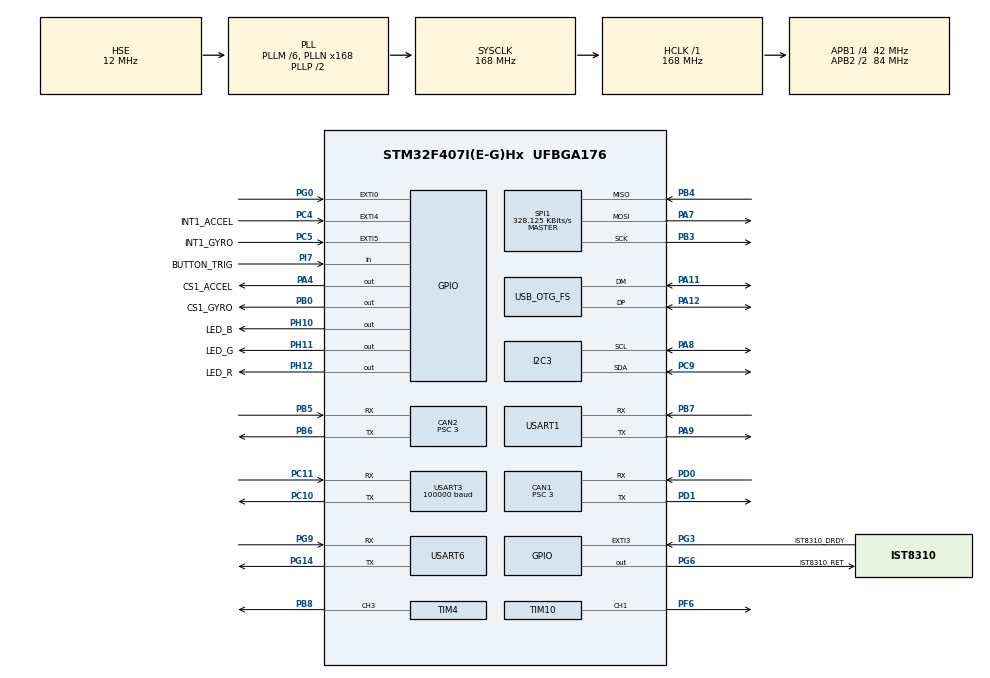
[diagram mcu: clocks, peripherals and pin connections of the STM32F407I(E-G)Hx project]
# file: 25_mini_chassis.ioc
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CAN1.BS1=CAN_BS1_10TQ
CAN1.BS2=CAN_BS2_3TQ
CAN1.CalculateBaudRate=1000000
CAN1.CalculateTimeBit=1000
CAN1.CalculateTimeQuantum=71.42857142857143
CAN1.Prescaler=3
CAN2.BS1=CAN_BS1_10TQ
CAN2.BS2=CAN_BS2_3TQ
CAN2.CalculateBaudRate=1000000
CAN2.CalculateTimeBit=1000
CAN2.CalculateTimeQuantum=71.42857142857143
CAN2.Prescaler=3
Dma.Request0=USART1_TX
Dma.Request1=USART3_RX
Dma.Request2=USART6_TX
Dma.Request3=USART6_RX
Dma.Request4=SPI1_RX
Dma.Request5=SPI1_TX
Dma.SPI1_RX.4.Direction=DMA_PERIPH_TO_MEMORY
Dma.SPI1_RX.4.FIFOMode=DMA_FIFOMODE_DISABLE
Dma.SPI1_RX.4.Instance=DMA2_Stream2
Dma.SPI1_RX.4.MemDataAlignment=DMA_MDATAALIGN_BYTE
Dma.SPI1_RX.4.MemInc=DMA_MINC_ENABLE
Dma.SPI1_RX.4.Mode=DMA_NORMAL
Dma.SPI1_RX.4.PeriphDataAlignment=DMA_PDATAALIGN_BYTE
Dma.SPI1_RX.4.PeriphInc=DMA_PINC_DISABLE
Dma.SPI1_RX.4.Priority=DMA_PRIORITY_VERY_HIGH
Dma.SPI1_TX.5.Direction=DMA_MEMORY_TO_PERIPH
Dma.SPI1_TX.5.FIFOMode=DMA_FIFOMODE_DISABLE
Dma.SPI1_TX.5.Instance=DMA2_Stream3
Dma.SPI1_TX.5.MemDataAlignment=DMA_MDATAALIGN_BYTE
Dma.SPI1_TX.5.MemInc=DMA_MINC_ENABLE
Dma.SPI1_TX.5.Mode=DMA_NORMAL
Dma.SPI1_TX.5.PeriphDataAlignment=DMA_PDATAALIGN_BYTE
Dma.SPI1_TX.5.PeriphInc=DMA_PINC_DISABLE
Dma.SPI1_TX.5.Priority=DMA_PRIORITY_HIGH
Dma.USART1_TX.0.Direction=DMA_MEMORY_TO_PERIPH
Dma.USART1_TX.0.FIFOMode=DMA_FIFOMODE_DISABLE
Dma.USART1_TX.0.Instance=DMA2_Stream7
Dma.USART1_TX.0.MemDataAlignment=DMA_MDATAALIGN_BYTE
Dma.USART1_TX.0.MemInc=DMA_MINC_ENABLE
Dma.USART1_TX.0.Mode=DMA_NORMAL
Dma.USART1_TX.0.PeriphDataAlignment=DMA_PDATAALIGN_BYTE
Dma.USART1_TX.0.PeriphInc=DMA_PINC_DISABLE
Dma.USART1_TX.0.Priority=DMA_PRIORITY_VERY_HIGH
Dma.USART3_RX.1.Direction=DMA_PERIPH_TO_MEMORY
Dma.USART3_RX.1.FIFOMode=DMA_FIFOMODE_DISABLE
Dma.USART3_RX.1.Instance=DMA1_Stream1
Dma.USART3_RX.1.MemDataAlignment=DMA_MDATAALIGN_BYTE
Dma.USART3_RX.1.MemInc=DMA_MINC_ENABLE
Dma.USART3_RX.1.Mode=DMA_CIRCULAR
Dma.USART3_RX.1.PeriphDataAlignment=DMA_PDATAALIGN_BYTE
Dma.USART3_RX.1.PeriphInc=DMA_PINC_DISABLE
Dma.USART3_RX.1.Priority=DMA_PRIORITY_LOW
Dma.USART6_RX.3.Direction=DMA_PERIPH_TO_MEMORY
Dma.USART6_RX.3.FIFOMode=DMA_FIFOMODE_DISABLE
Dma.USART6_RX.3.Instance=DMA2_Stream1
Dma.USART6_RX.3.MemDataAlignment=DMA_MDATAALIGN_BYTE
Dma.USART6_RX.3.MemInc=DMA_MINC_ENABLE
Dma.USART6_RX.3.Mode=DMA_NORMAL
Dma.USART6_RX.3.PeriphDataAlignment=DMA_PDATAALIGN_BYTE
Dma.USART6_RX.3.PeriphInc=DMA_PINC_DISABLE
Dma.USART6_RX.3.Priority=DMA_PRIORITY_VERY_HIGH
Dma.USART6_TX.2.Direction=DMA_MEMORY_TO_PERIPH
Dma.USART6_TX.2.FIFOMode=DMA_FIFOMODE_DISABLE
Dma.USART6_TX.2.Instance=DMA2_Stream6
Dma.USART6_TX.2.MemDataAlignment=DMA_MDATAALIGN_BYTE
Dma.USART6_TX.2.MemInc=DMA_MINC_ENABLE
Dma.USART6_TX.2.Mode=DMA_NORMAL
Dma.USART6_TX.2.PeriphDataAlignment=DMA_PDATAALIGN_BYTE
Dma.USART6_TX.2.PeriphInc=DMA_PINC_DISABLE
Dma.USART6_TX.2.Priority=DMA_PRIORITY_MEDIUM
FREERTOS.INCLUDE_eTaskGetState=1
FREERTOS.INCLUDE_pcTaskGetTaskName=1
FREERTOS.INCLUDE_uxTaskGetStackHighWaterMark=1
FREERTOS.INCLUDE_uxTaskGetStackHighWaterMark2=1
FREERTOS.INCLUDE_vTaskCleanUpResources=1
FREERTOS.INCLUDE_vTaskDelayUntil=1
FREERTOS.INCLUDE_xQueueGetMutexHolder=1
FREERTOS.INCLUDE_xSemaphoreGetMutexHolder=1
FREERTOS.INCLUDE_xTaskAbortDelay=1
FREERTOS.INCLUDE_xTaskGetCurrentTaskHandle=1
FREERTOS.INCLUDE_xTaskGetHandle=1
FREERTOS.Tasks01=crg_test_task,16,512,Crg_test_Task,As weak,NULL,Static,crg_test_taskBuffer,crg_test_taskControlBlock;imu_task,40,1024,Imu_Task,As weak,NULL,Static,imu_taskBuffer,imu_taskControlBlock;gimbal_task,24,1024,Gimbal_Task,As weak,NULL,Static,gimbal_taskBuffer,gimbal_taskControlBlock;shoot_task,24,512,Shoot_Task,As weak,NULL,Static,shoot_taskBuffer,shoot_taskControlBlock;chassis_task,32,1024,Chassis_Task,As weak,NULL,Static,chassis_taskBuffer,chassis_taskControlBlock;referee_usart_t,24,512,Referee_Usart_Task,As weak,NULL,Static,referee_usart_tBuffer,referee_usart_tControlBlock;ui_task,16,512,Ui_Task,As weak,NULL,Static,ui_taskBuffer,ui_taskControlBlock;debug_task,16,512,Crg_test_Task,As weak,NULL,Static,debug_taskBuffer,debug_taskControlBlock
FREERTOS.configTOTAL_HEAP_SIZE=24576
FREERTOS.configCHECK_FOR_STACK_OVERFLOW=2
FREERTOS.configUSE_TIMERS=1
I2C3.I2C_Mode=I2C_Fast
Mcu.Family=STM32F4
Mcu.Name=STM32F407I(E-G)Hx
Mcu.Package=UFBGA176
NVIC.CAN1_RX0_IRQn=true\:5\:0\:false\:false\:true\:true\:true\:true\:true
NVIC.CAN2_RX0_IRQn=true\:5\:0\:false\:false\:true\:true\:true\:true\:true
NVIC.DMA1_Stream1_IRQn=true\:5\:0\:false\:false\:true\:true\:false\:true\:true
NVIC.DMA2_Stream1_IRQn=true\:5\:0\:false\:false\:true\:true\:false\:true\:true
NVIC.DMA2_Stream2_IRQn=true\:5\:0\:false\:false\:true\:false\:false\:true\:true
NVIC.DMA2_Stream3_IRQn=true\:5\:0\:false\:false\:true\:true\:false\:true\:true
NVIC.DMA2_Stream6_IRQn=true\:5\:0\:false\:false\:true\:true\:false\:true\:true
NVIC.DMA2_Stream7_IRQn=true\:5\:0\:false\:false\:true\:true\:false\:true\:true
NVIC.EXTI0_IRQn=true\:6\:0\:true\:false\:true\:true\:true\:true\:true
NVIC.EXTI3_IRQn=true\:5\:0\:false\:false\:true\:true\:true\:true\:true
NVIC.EXTI4_IRQn=true\:5\:0\:false\:false\:true\:true\:true\:true\:true
NVIC.EXTI9_5_IRQn=true\:5\:0\:true\:false\:true\:true\:true\:true\:true
NVIC.OTG_FS_IRQn=true\:5\:0\:false\:false\:true\:true\:false\:true\:true
NVIC.PriorityGroup=NVIC_PRIORITYGROUP_4
NVIC.SPI1_IRQn=true\:5\:0\:false\:false\:true\:true\:true\:true\:true
NVIC.TIM2_IRQn=true\:15\:0\:false\:false\:true\:false\:false\:true\:true
NVIC.TimeBase=TIM2_IRQn
NVIC.TimeBaseIP=TIM2
NVIC.USART3_IRQn=true\:5\:0\:false\:false\:true\:true\:true\:true\:true
NVIC.USART6_IRQn=true\:5\:0\:false\:false\:true\:true\:true\:true\:true
PA11.Mode=Device_Only
PA11.Signal=USB_OTG_FS_DM
PA12.Mode=Device_Only
PA12.Signal=USB_OTG_FS_DP
PA13.Mode=Serial_Wire
PA13.Signal=SYS_JTMS-SWDIO
PA14.Mode=Serial_Wire
PA14.Signal=SYS_JTCK-SWCLK
PA4.GPIO_Label=CS1_ACCEL
PA4.GPIO_PuPd=GPIO_PULLUP
PA4.GPIO_Speed=GPIO_SPEED_FREQ_HIGH
PA4.PinState=GPIO_PIN_SET
PA4.Signal=GPIO_Output
PA7.GPIO_PuPd=GPIO_PULLUP
PA7.Mode=Full_Duplex_Master
PA7.Signal=SPI1_MOSI
PA8.GPIO_Pu=GPIO_PULLUP
PA8.Mode=I2C
PA8.Signal=I2C3_SCL
PA9.Mode=Asynchronous
PA9.Signal=USART1_TX
PB0.GPIO_Label=CS1_GYRO
PB0.GPIO_PuPd=GPIO_PULLUP
PB0.GPIO_Speed=GPIO_SPEED_FREQ_HIGH
PB0.PinState=GPIO_PIN_SET
PB0.Signal=GPIO_Output
PB3.GPIO_PuPd=GPIO_PULLUP
PB3.Mode=Full_Duplex_Master
PB3.Signal=SPI1_SCK
PB4.GPIO_PuPd=GPIO_PULLUP
PB4.Mode=Full_Duplex_Master
PB4.Signal=SPI1_MISO
PB5.Mode=CAN_Activate
PB5.Signal=CAN2_RX
PB6.Mode=CAN_Activate
PB6.Signal=CAN2_TX
PB7.Mode=Asynchronous
PB7.Signal=USART1_RX
PB8.Signal=S_TIM4_CH3
PC10.Mode=Asynchronous
PC10.Signal=USART3_TX
PC11.Mode=Asynchronous
PC11.Signal=USART3_RX
PC14-OSC32_IN.Mode=LSE-External-Oscillator
PC14-OSC32_IN.Signal=RCC_OSC32_IN
PC15-OSC32_OUT.Mode=LSE-External-Oscillator
PC15-OSC32_OUT.Signal=RCC_OSC32_OUT
PC4.GPIO_Label=INT1_ACCEL
PC4.GPIO_PuPd=GPIO_PULLUP
PC4.Signal=GPXTI4
PC5.GPIO_Label=INT1_GYRO
PC5.GPIO_PuPd=GPIO_PULLUP
PC5.Signal=GPXTI5
PC9.GPIO_Pu=GPIO_PULLUP
PC9.Mode=I2C
PC9.Signal=I2C3_SDA
PD0.Mode=CAN_Activate
PD0.Signal=CAN1_RX
PD1.Mode=CAN_Activate
PD1.Signal=CAN1_TX
PF6.GPIO_PuPd=GPIO_PULLUP
PF6.GPIO_Speed=GPIO_SPEED_FREQ_HIGH
PF6.Signal=S_TIM10_CH1
PG0.GPIO_PuPd=GPIO_PULLUP
PG0.Signal=GPXTI0
PG14.Mode=Asynchronous
PG14.Signal=USART6_TX
PG3.GPIO_Label=IST8310_DRDY
PG3.GPIO_PuPd=GPIO_PULLUP
PG3.Signal=GPXTI3
PG6.GPIO_Label=IST8310_RET
PG6.GPIO_ModeDefaultOutputPP=GPIO_MODE_OUTPUT_PP
PG6.GPIO_PuPd=GPIO_PULLUP
PG6.GPIO_Speed=GPIO_SPEED_FREQ_MEDIUM
PG6.PinState=GPIO_PIN_SET
PG6.Signal=GPIO_Output
PG9.Mode=Asynchronous
PG9.Signal=USART6_RX
PH0-OSC_IN.Mode=HSE-External-Oscillator
PH0-OSC_IN.Signal=RCC_OSC_IN
PH1-OSC_OUT.Mode=HSE-External-Oscillator
PH1-OSC_OUT.Signal=RCC_OSC_OUT
PH10.GPIO_Label=LED_B
PH10.GPIO_PuPd=GPIO_PULLUP
PH10.GPIO_Speed=GPIO_SPEED_FREQ_LOW
PH10.Signal=GPIO_Output
PH11.GPIO_Label=LED_G
PH11.GPIO_PuPd=GPIO_NOPULL
PH11.GPIO_Speed=GPIO_SPEED_FREQ_LOW
PH11.Signal=GPIO_Output
PH12.GPIO_Label=LED_R
PH12.Signal=GPIO_Output
PI7.GPIO_Label=BUTTON_TRIG
PI7.GPIO_PuPd=GPIO_PULLUP
PI7.Signal=GPIO_Input
ProjectManager.HeapSize=0x200
ProjectManager.StackSize=0x400
ProjectManager.TargetToolchain=MDK-ARM V5.32
RCC.48MHZClocksFreq_Value=48000000
RCC.AHBFreq_Value=168000000
RCC.APB1CLKDivider=RCC_HCLK_DIV4
RCC.APB1Freq_Value=42000000
RCC.APB1TimFreq_Value=84000000
RCC.APB2CLKDivider=RCC_HCLK_DIV2
RCC.APB2Freq_Value=84000000
RCC.APB2TimFreq_Value=168000000
RCC.CortexFreq_Value=168000000
RCC.HCLKFreq_Value=168000000
RCC.HSE_VALUE=12000000
RCC.HSI_VALUE=16000000
RCC.PLLM=6
RCC.PLLN=168
RCC.PLLQ=7
RCC.SYSCLKFreq_VALUE=168000000
RCC.SYSCLKSource=RCC_SYSCLKSOURCE_PLLCLK
RCC.VCOOutputFreq_Value=336000000
SH.S_TIM10_CH1.0=TIM10_CH1,PWM Generation1 CH1
SH.S_TIM4_CH3.0=TIM4_CH3,Output Compare3 CH3
SPI1.BaudRatePrescaler=SPI_BAUDRATEPRESCALER_256
SPI1.CLKPhase=SPI_PHASE_2EDGE
SPI1.CLKPolarity=SPI_POLARITY_HIGH
SPI1.CalculateBaudRate=328.125 KBits/s
SPI1.Direction=SPI_DIRECTION_2LINES
SPI1.Mode=SPI_MODE_MASTER
SPI1.VirtualType=VM_MASTER
STMicroelectronics.X-CUBE-ALGOBUILD.1.3.0.LibraryCcDSPOoLibraryJjDSPOoLibrary=true
TIM10.Channel=TIM_CHANNEL_1
TIM10.Period=4999
TIM4.Channel-Output\ Compare3\ CH3=TIM_CHANNEL_3
TIM4.Period=20999
USART1.VirtualMode=VM_ASYNC
USART3.BaudRate=100000
USART3.Parity=PARITY_EVEN
USART3.VirtualMode=VM_ASYNC
USART6.VirtualMode=VM_ASYNC
USB_DEVICE.CLASS_NAME_FS=CDC
USB_DEVICE.VirtualMode-CDC_FS=Cdc
USB_DEVICE.VirtualModeFS=Cdc_FS
USB_OTG_FS.VirtualMode=Device_Only
VP_FREERTOS_VS_CMSIS_V2.Mode=CMSIS_V2
VP_STMicroelectronics.X-CUBE-ALGOBUILD_VS_DSPOoLibraryJjLibrary_1.3.0_1.3.0.Mode=DSPOoLibraryJjLibrary
VP_SYS_VS_tim2.Mode=TIM2
VP_TIM10_VS_ClockSourceINT.Mode=Enable_Timer
VP_TIM4_VS_ClockSourceINT.Mode=Internal
VP_USB_DEVICE_VS_USB_DEVICE_CDC_FS.Mode=CDC_FS
board=custom

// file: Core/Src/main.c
/* USER CODE BEGIN Header */
/**
  ******************************************************************************
  * @file           : main.c
  * @brief          : Main program body
  ******************************************************************************
  * @attention
  *
  * Copyright (c) 2024 STMicroelectronics.
  * All rights reserved.
  *
  * This software is licensed under terms that can be found in the LICENSE file
  * in the root directory of this software component.
  * If no LICENSE file comes with this software, it is provided AS-IS.
  *
  ******************************************************************************
  */
/* USER CODE END Header */
#include "main.h"
#include "cmsis_os.h"
#include "can.h"
#include "dma.h"
#include "i2c.h"
#include "spi.h"
#include "tim.h"
#include "usart.h"
#include "usb_device.h"
#include "gpio.h"

/* USER CODE BEGIN Includes */
#include "can_init.h"
#include "dt7_remote_read.h"
/* USER CODE END Includes */

void SystemClock_Config(void);
void MX_FREERTOS_Init(void);
/* USER CODE BEGIN PFP */
void MX_USB_DEVICE_Init(void);
/* USER CODE END PFP */

int main(void)
{

  /* MCU Configuration--------------------------------------------------------*/

  /* Reset of all peripherals, Initializes the Flash interface and the Systick. */
  HAL_Init();

  /* Configure the system clock */
  SystemClock_Config();

  /* Initialize all configured peripherals */
  MX_GPIO_Init();
  MX_DMA_Init();
  MX_CAN1_Init();
  MX_CAN2_Init();
  MX_USART1_UART_Init();
  MX_USART3_UART_Init();
  MX_TIM10_Init();
  MX_I2C3_Init();
  MX_SPI1_Init();
  MX_TIM4_Init();
  MX_USART6_UART_Init();
  /* USER CODE BEGIN 2 */
  dt7_remote_read_init();
  can_filter_init();
  MX_USB_DEVICE_Init();
  /* USER CODE END 2 */

  /* Init scheduler */
  osKernelInitialize();  /* Call init function for freertos objects (in cmsis_os2.c) */
  MX_FREERTOS_Init();

  /* Start scheduler */
  osKernelStart();

  /* We should never get here as control is now taken by the scheduler */

  /* Infinite loop */
  while (1)
  {

  }
}

void SystemClock_Config(void)
{
  RCC_OscInitTypeDef RCC_OscInitStruct = {0};
  RCC_ClkInitTypeDef RCC_ClkInitStruct = {0};

  /** Configure the main internal regulator output voltage
  */
  __HAL_RCC_PWR_CLK_ENABLE();
  __HAL_PWR_VOLTAGESCALING_CONFIG(PWR_REGULATOR_VOLTAGE_SCALE1);

  /** Initializes the RCC Oscillators according to the specified parameters
  * in the RCC_OscInitTypeDef structure.
  */
  RCC_OscInitStruct.OscillatorType = RCC_OSCILLATORTYPE_HSE;
  RCC_OscInitStruct.HSEState = RCC_HSE_ON;
  RCC_OscInitStruct.PLL.PLLState = RCC_PLL_ON;
  RCC_OscInitStruct.PLL.PLLSource = RCC_PLLSOURCE_HSE;
  RCC_OscInitStruct.PLL.PLLM = 6;
  RCC_OscInitStruct.PLL.PLLN = 168;
  RCC_OscInitStruct.PLL.PLLP = RCC_PLLP_DIV2;
  RCC_OscInitStruct.PLL.PLLQ = 7;
  if (HAL_RCC_OscConfig(&RCC_OscInitStruct) != HAL_OK)
  {
    Error_Handler();
  }

  /** Initializes the CPU, AHB and APB buses clocks
  */
  RCC_ClkInitStruct.ClockType = RCC_CLOCKTYPE_HCLK|RCC_CLOCKTYPE_SYSCLK
                              |RCC_CLOCKTYPE_PCLK1|RCC_CLOCKTYPE_PCLK2;
  RCC_ClkInitStruct.SYSCLKSource = RCC_SYSCLKSOURCE_PLLCLK;
  RCC_ClkInitStruct.AHBCLKDivider = RCC_SYSCLK_DIV1;
  RCC_ClkInitStruct.APB1CLKDivider = RCC_HCLK_DIV4;
  RCC_ClkInitStruct.APB2CLKDivider = RCC_HCLK_DIV2;

  if (HAL_RCC_ClockConfig(&RCC_ClkInitStruct, FLASH_LATENCY_5) != HAL_OK)
  {
    Error_Handler();
  }
}

void HAL_TIM_PeriodElapsedCallback(TIM_HandleTypeDef *htim)
{
  if (htim->Instance == TIM2)
  {
    HAL_IncTick();
  }
}

void Error_Handler(void)
{
  __disable_irq();
  while (1)
  {
  }
}

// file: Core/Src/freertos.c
/* USER CODE BEGIN Header */
/**
  ******************************************************************************
  * File Name          : freertos.c
  * Description        : Code for freertos applications
  ******************************************************************************
  * @attention
  *
  * Copyright (c) 2024 STMicroelectronics.
  * All rights reserved.
  *
  * This software is licensed under terms that can be found in the LICENSE file
  * in the root directory of this software component.
  * If no LICENSE file comes with this software, it is provided AS-IS.
  *
  ******************************************************************************
  */
/* USER CODE END Header */

#include "FreeRTOS.h"
#include "task.h"
#include "main.h"
#include "cmsis_os.h"

/* USER CODE BEGIN Includes */
#include <string.h>
/* USER CODE END Includes */

typedef StaticTask_t osStaticThreadDef_t;

/* USER CODE BEGIN Variables */
/* 栈高水位（单位 words，剩余量，越小越危险）
 * [0] crg [1] imu [2] gimbal [3] shoot [4] chassis [5] referee [6] ui [7] debug */
volatile uint16_t chassis_task_stack_high_water_word[8];
volatile uint8_t chassis_task_stack_overflow_flag = 0U;
volatile char chassis_task_stack_overflow_name[configMAX_TASK_NAME_LEN];
/* USER CODE END Variables */
/* Definitions for crg_test_task */
osThreadId_t crg_test_taskHandle;
uint32_t crg_test_taskBuffer[ 512 ];
osStaticThreadDef_t crg_test_taskControlBlock;
const osThreadAttr_t crg_test_task_attributes = {
  .name = "crg_test_task",
  .cb_mem = &crg_test_taskControlBlock,
  .cb_size = sizeof(crg_test_taskControlBlock),
  .stack_mem = &crg_test_taskBuffer[0],
  .stack_size = sizeof(crg_test_taskBuffer),
  .priority = (osPriority_t) osPriorityBelowNormal,
};
/* Definitions for imu_task */
osThreadId_t imu_taskHandle;
uint32_t imu_taskBuffer[ 1024 ];
osStaticThreadDef_t imu_taskControlBlock;
const osThreadAttr_t imu_task_attributes = {
  .name = "imu_task",
  .cb_mem = &imu_taskControlBlock,
  .cb_size = sizeof(imu_taskControlBlock),
  .stack_mem = &imu_taskBuffer[0],
  .stack_size = sizeof(imu_taskBuffer),
  .priority = (osPriority_t) osPriorityHigh,
};
/* Definitions for gimbal_task */
osThreadId_t gimbal_taskHandle;
uint32_t gimbal_taskBuffer[ 1024 ];
osStaticThreadDef_t gimbal_taskControlBlock;
const osThreadAttr_t gimbal_task_attributes = {
  .name = "gimbal_task",
  .cb_mem = &gimbal_taskControlBlock,
  .cb_size = sizeof(gimbal_taskControlBlock),
  .stack_mem = &gimbal_taskBuffer[0],
  .stack_size = sizeof(gimbal_taskBuffer),
  .priority = (osPriority_t) osPriorityNormal,
};
/* Definitions for shoot_task */
osThreadId_t shoot_taskHandle;
uint32_t shoot_taskBuffer[ 512 ];
osStaticThreadDef_t shoot_taskControlBlock;
const osThreadAttr_t shoot_task_attributes = {
  .name = "shoot_task",
  .cb_mem = &shoot_taskControlBlock,
  .cb_size = sizeof(shoot_taskControlBlock),
  .stack_mem = &shoot_taskBuffer[0],
  .stack_size = sizeof(shoot_taskBuffer),
  .priority = (osPriority_t) osPriorityNormal,
};
/* Definitions for chassis_task */
osThreadId_t chassis_taskHandle;
uint32_t chassis_taskBuffer[ 1024 ];
osStaticThreadDef_t chassis_taskControlBlock;
const osThreadAttr_t chassis_task_attributes = {
  .name = "chassis_task",
  .cb_mem = &chassis_taskControlBlock,
  .cb_size = sizeof(chassis_taskControlBlock),
  .stack_mem = &chassis_taskBuffer[0],
  .stack_size = sizeof(chassis_taskBuffer),
  .priority = (osPriority_t) osPriorityAboveNormal,
};
/* Definitions for referee_usart_t */
osThreadId_t referee_usart_tHandle;
uint32_t referee_usart_tBuffer[ 512 ];
osStaticThreadDef_t referee_usart_tControlBlock;
const osThreadAttr_t referee_usart_t_attributes = {
  .name = "referee_usart_t",
  .cb_mem = &referee_usart_tControlBlock,
  .cb_size = sizeof(referee_usart_tControlBlock),
  .stack_mem = &referee_usart_tBuffer[0],
  .stack_size = sizeof(referee_usart_tBuffer),
  .priority = (osPriority_t) osPriorityNormal,
};
/* Definitions for ui_task */
osThreadId_t ui_taskHandle;
uint32_t ui_taskBuffer[ 512 ];
osStaticThreadDef_t ui_taskControlBlock;
const osThreadAttr_t ui_task_attributes = {
  .name = "ui_task",
  .cb_mem = &ui_taskControlBlock,
  .cb_size = sizeof(ui_taskControlBlock),
  .stack_mem = &ui_taskBuffer[0],
  .stack_size = sizeof(ui_taskBuffer),
  .priority = (osPriority_t) osPriorityBelowNormal,
};
/* Definitions for debug_task */
osThreadId_t debug_taskHandle;
uint32_t debug_taskBuffer[ 512 ];
osStaticThreadDef_t debug_taskControlBlock;
const osThreadAttr_t debug_task_attributes = {
  .name = "debug_task",
  .cb_mem = &debug_taskControlBlock,
  .cb_size = sizeof(debug_taskControlBlock),
  .stack_mem = &debug_taskBuffer[0],
  .stack_size = sizeof(debug_taskBuffer),
  .priority = (osPriority_t) osPriorityBelowNormal,
};

/* USER CODE BEGIN FunctionPrototypes */
void Chassis_Task_Report_Update(void);
/* USER CODE END FunctionPrototypes */

void Crg_test_Task(void *argument);
void Imu_Task(void *argument);
void Gimbal_Task(void *argument);
void Shoot_Task(void *argument);
void Chassis_Task(void *argument);
void Referee_Usart_Task(void *argument);
void Ui_Task(void *argument);

extern void MX_USB_DEVICE_Init(void);
void MX_FREERTOS_Init(void); /* (MISRA C 2004 rule 8.1) */

void MX_FREERTOS_Init(void) {

  /* Create the thread(s) */
  /* creation of crg_test_task */
  crg_test_taskHandle = osThreadNew(Crg_test_Task, NULL, &crg_test_task_attributes);

  /* creation of imu_task */
  imu_taskHandle = osThreadNew(Imu_Task, NULL, &imu_task_attributes);

  /* creation of gimbal_task */
  gimbal_taskHandle = osThreadNew(Gimbal_Task, NULL, &gimbal_task_attributes);

  /* creation of shoot_task */
  shoot_taskHandle = osThreadNew(Shoot_Task, NULL, &shoot_task_attributes);

  /* creation of chassis_task */
  chassis_taskHandle = osThreadNew(Chassis_Task, NULL, &chassis_task_attributes);

  /* creation of referee_usart_t */
  referee_usart_tHandle = osThreadNew(Referee_Usart_Task, NULL, &referee_usart_t_attributes);

  /* creation of ui_task */
  ui_taskHandle = osThreadNew(Ui_Task, NULL, &ui_task_attributes);

  /* creation of debug_task */
  debug_taskHandle = osThreadNew(Crg_test_Task, NULL, &debug_task_attributes);

}

__weak void Crg_test_Task(void *argument)
{
  /* init code for USB_DEVICE */
  MX_USB_DEVICE_Init();
  for(;;)
  {
    osDelay(1);
  }
}

__weak void Imu_Task(void *argument)
{
  for(;;)
  {
    osDelay(1);
  }
}

__weak void Gimbal_Task(void *argument)
{
  for(;;)
  {
    osDelay(1);
  }
}

__weak void Shoot_Task(void *argument)
{
  for(;;)
  {
    osDelay(1);
  }
}

__weak void Chassis_Task(void *argument)
{
  for(;;)
  {
    osDelay(1);
  }
}

__weak void Referee_Usart_Task(void *argument)
{
  for(;;)
  {
    osDelay(1);
  }
}

__weak void Ui_Task(void *argument)
{
  for(;;)
  {
    osDelay(1);
  }
}

/* USER CODE BEGIN Application */
void Chassis_Task_Report_Update(void)
{
  chassis_task_stack_high_water_word[0] = (uint16_t)uxTaskGetStackHighWaterMark(crg_test_taskHandle);
  chassis_task_stack_high_water_word[1] = (uint16_t)uxTaskGetStackHighWaterMark(imu_taskHandle);
  chassis_task_stack_high_water_word[2] = (uint16_t)uxTaskGetStackHighWaterMark(gimbal_taskHandle);
  chassis_task_stack_high_water_word[3] = (uint16_t)uxTaskGetStackHighWaterMark(shoot_taskHandle);
  chassis_task_stack_high_water_word[4] = (uint16_t)uxTaskGetStackHighWaterMark(chassis_taskHandle);
  chassis_task_stack_high_water_word[5] = (uint16_t)uxTaskGetStackHighWaterMark(referee_usart_tHandle);
  chassis_task_stack_high_water_word[6] = (uint16_t)uxTaskGetStackHighWaterMark(ui_taskHandle);
  chassis_task_stack_high_water_word[7] = (uint16_t)uxTaskGetStackHighWaterMark(debug_taskHandle);
}

void vApplicationStackOverflowHook(TaskHandle_t xTask, char *pcTaskName)
{
  (void)xTask;
  chassis_task_stack_overflow_flag = 1U;
  (void)strncpy((char *)chassis_task_stack_overflow_name, pcTaskName, configMAX_TASK_NAME_LEN - 1U);
  chassis_task_stack_overflow_name[configMAX_TASK_NAME_LEN - 1U] = '\0';
  NVIC_SystemReset();
}
/* USER CODE END Application */
